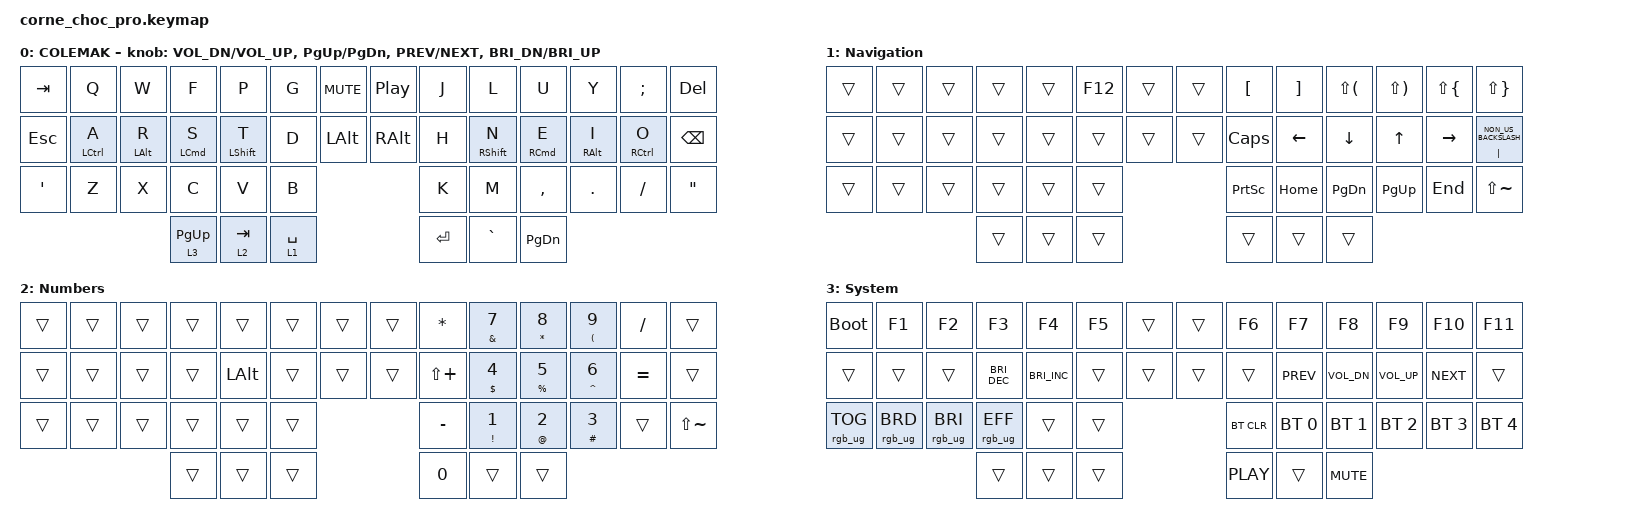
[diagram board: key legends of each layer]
/*
 * Copyright (c) 2020 The ZMK Contributors
 *
 * SPDX-License-Identifier: MIT
 */

#include <behaviors.dtsi>
#include <dt-bindings/zmk/bt.h>
#include <dt-bindings/zmk/keys.h>
#include <dt-bindings/zmk/rgb.h>

/ {
    chosen { zmk,physical-layout = &default_layout; };
};

/ {
    behaviors {
        hml: hml {
            compatible = "zmk,behavior-hold-tap";
            label = "HML";
            bindings = <&kp>, <&kp>;

            #binding-cells = <2>;
            tapping-term-ms = <280>;
            quick-tap-ms = <175>;
            flavor = "balanced";
            hold-trigger-on-release;
            hold-trigger-key-positions = <7 8 9 10 11 12 13 21 22 23 24 25 26 27 34 35 36 37 38 39 43 44 45 40 41 42>;
        };

        hmr: hmr {
            compatible = "zmk,behavior-hold-tap";
            label = "HMR";
            bindings = <&kp>, <&kp>;

            #binding-cells = <2>;
            tapping-term-ms = <280>;
            quick-tap-ms = <175>;
            flavor = "balanced";
            hold-trigger-on-release;
            hold-trigger-key-positions = <0 1 2 3 4 5 6 14 15 16 17 18 19 20 28 29 30 31 32 33 40 41 42 43 44 45>;
        };
    };

    keymap {
        compatible = "zmk,keymap";

        default_layer {
            display-name = "COLEMAK";

            // --------------------------------------------------------------------------------
            // |  TAB |  Q  |  W  |  E  |  R  |  T  |  MUTE |  PP   |  Y  |  U   |  I  |  O  |  P  | BSPC |
            // | CTRL |  A  |  S  |  D  |  F  |  G  |  LALT |  RALT |  H  |  J   |  K  |  L  |  ;  |  '   |
            // | SHFT |  Z  |  X  |  C  |  V  |  B  |               |  N  |  M   |  ,  |  .  |  /  | ESC  |
            //                    | GUI | LWR | SPC |               | ENT | RSE  | ALT |

            bindings = <
&kp TAB  &kp Q                &kp W            &kp F                &kp P              &kp G        &kp C_MUTE  &kp C_PP  &kp J    &kp L               &kp U                 &kp Y             &kp SEMI              &kp DELETE
&kp ESC  &hml LEFT_CONTROL A  &hml LEFT_ALT R  &hml LEFT_COMMAND S  &hml LEFT_SHIFT T  &kp D        &kp LALT    &kp RALT  &kp H    &hmr RIGHT_SHIFT N  &hmr RIGHT_COMMAND E  &hmr RIGHT_ALT I  &hmr RIGHT_CONTROL O  &kp BACKSPACE
&kp SQT  &kp Z                &kp X            &kp C                &kp V              &kp B                              &kp K    &kp M               &kp COMMA             &kp DOT           &kp FSLH              &kp DOUBLE_QUOTES
                                               &lt 3 PAGE_UP        &lt 2 TAB          &lt 1 SPACE                        &kp RET  &kp GRAVE           &kp PAGE_DOWN
            >;

            sensor-bindings = <&inc_dec_kp C_VOL_DN C_VOL_UP &inc_dec_kp PG_UP PG_DN &inc_dec_kp C_PREV C_NEXT &inc_dec_kp C_BRI_DN C_BRI_UP>;
        };

        nav {
            bindings = <
&trans  &trans  &trans  &trans  &trans  &kp F12  &trans  &trans  &kp LBKT         &kp RBKT  &kp LS(LPAR)   &kp LS(RPAR)  &kp LS(LBRC)  &kp LS(RBRC)
&trans  &trans  &trans  &trans  &trans  &trans   &trans  &trans  &kp CAPS         &kp LEFT  &kp DOWN       &kp UP        &kp RIGHT     &mt PIPE NON_US_BACKSLASH
&trans  &trans  &trans  &trans  &trans  &trans                   &kp PRINTSCREEN  &kp HOME  &kp PAGE_DOWN  &kp PAGE_UP   &kp END       &kp LS(TILDE)
                        &trans  &trans  &trans                   &trans           &trans    &trans
            >;

            label = "Navigation";
        };

        Numbers {
            bindings = <
&trans  &trans  &trans  &trans  &trans    &trans  &trans  &trans  &kp ASTERISK  &mt AMPERSAND N7    &mt ASTERISK N8  &mt LEFT_PARENTHESIS N9  &kp FSLH   &trans
&trans  &trans  &trans  &trans  &kp LALT  &trans  &trans  &trans  &kp LS(PLUS)  &mt DOLLAR N4       &mt PERCENT N5   &mt CARET N6             &kp EQUAL  &trans
&trans  &trans  &trans  &trans  &trans    &trans                  &kp MINUS     &mt EXCLAMATION N1  &mt AT_SIGN N2   &mt HASH N3              &trans     &kp LS(TILDE)
                        &trans  &trans    &trans                  &kp N0        &trans              &trans
            >;

            label = "Numbers";
        };

        System {
            bindings = <
&bootloader      &kp F1           &kp F2           &kp F3                &kp F4                &kp F5  &trans  &trans  &kp F6      &kp F7        &kp F8        &kp F9           &kp F10       &kp F11
&trans           &trans           &trans           &kp C_BRIGHTNESS_DEC  &kp C_BRIGHTNESS_INC  &trans  &trans  &trans  &trans      &kp C_PREV    &kp C_VOL_DN  &kp C_VOLUME_UP  &kp C_NEXT    &trans
&rgb_ug RGB_TOG  &rgb_ug RGB_BRD  &rgb_ug RGB_BRI  &rgb_ug RGB_EFF       &trans                &trans                  &bt BT_CLR  &bt BT_SEL 0  &bt BT_SEL 1  &bt BT_SEL 2     &bt BT_SEL 3  &bt BT_SEL 4
                                                   &trans                &trans                &trans                  &kp C_PLAY  &trans        &kp C_MUTE
            >;

            label = "System";
        };
    };
};
